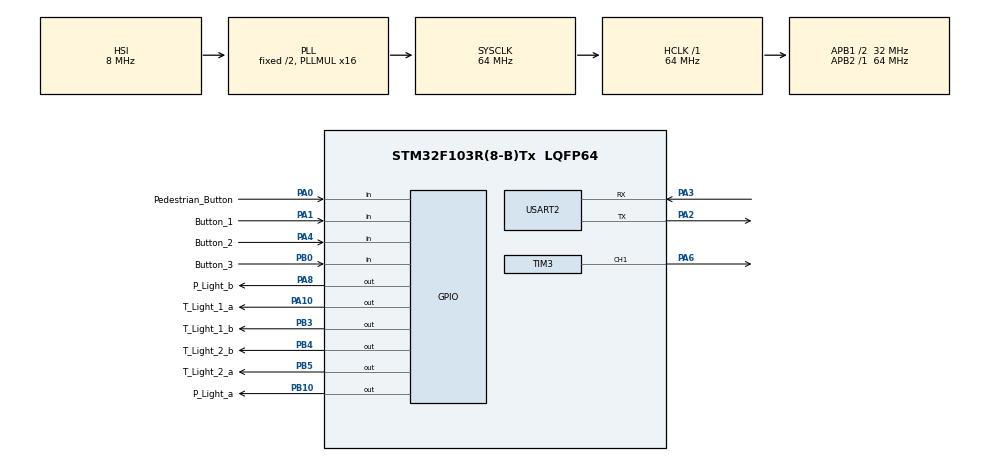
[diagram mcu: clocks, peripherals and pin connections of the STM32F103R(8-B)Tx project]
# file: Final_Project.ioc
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Mcu.Family=STM32F1
Mcu.Name=STM32F103R(8-B)Tx
Mcu.Package=LQFP64
NVIC.PriorityGroup=NVIC_PRIORITYGROUP_4
NVIC.TIM2_IRQn=true\:0\:0\:false\:false\:true\:true\:true\:true
NVIC.TIM3_IRQn=true\:0\:0\:false\:false\:true\:true\:true\:true
NVIC.USART2_IRQn=true\:0\:0\:false\:false\:true\:true\:true\:true
PA0-WKUP.GPIO_Label=Pedestrian_Button
PA0-WKUP.GPIO_PuPd=GPIO_PULLUP
PA0-WKUP.Signal=GPIO_Input
PA1.GPIO_Label=Button_1
PA1.GPIO_PuPd=GPIO_PULLUP
PA1.Signal=GPIO_Input
PA10.GPIO_Label=T_Light_1_a
PA10.Signal=GPIO_Output
PA13.Mode=Serial_Wire
PA13.Signal=SYS_JTMS-SWDIO
PA14.Mode=Serial_Wire
PA14.Signal=SYS_JTCK-SWCLK
PA2.Mode=Asynchronous
PA2.Signal=USART2_TX
PA3.Mode=Asynchronous
PA3.Signal=USART2_RX
PA4.GPIO_Label=Button_2
PA4.GPIO_PuPd=GPIO_PULLUP
PA4.Signal=GPIO_Input
PA6.Signal=S_TIM3_CH1
PA8.GPIO_Label=P_Light_b
PA8.Signal=GPIO_Output
PB0.GPIO_Label=Button_3
PB0.GPIO_PuPd=GPIO_PULLUP
PB0.Signal=GPIO_Input
PB10.GPIO_Label=P_Light_a
PB10.Signal=GPIO_Output
PB3.GPIO_Label=T_Light_1_b
PB3.Signal=GPIO_Output
PB4.GPIO_Label=T_Light_2_b
PB4.Signal=GPIO_Output
PB5.GPIO_Label=T_Light_2_a
PB5.Signal=GPIO_Output
ProjectManager.HeapSize=0x200
ProjectManager.StackSize=0x400
ProjectManager.TargetToolchain=STM32CubeIDE
RCC.AHBFreq_Value=64000000
RCC.APB1CLKDivider=RCC_HCLK_DIV2
RCC.APB1Freq_Value=32000000
RCC.APB1TimFreq_Value=64000000
RCC.APB2Freq_Value=64000000
RCC.APB2TimFreq_Value=64000000
RCC.HCLKFreq_Value=64000000
RCC.PLLMUL=RCC_PLL_MUL16
RCC.SYSCLKFreq_VALUE=64000000
RCC.SYSCLKSource=RCC_SYSCLKSOURCE_PLLCLK
RCC.USBFreq_Value=64000000
SH.S_TIM3_CH1.0=TIM3_CH1,PWM Generation1 CH1
TIM2.Period=63
TIM2.Prescaler=9999
TIM3.Channel-PWM\ Generation1\ CH1=TIM_CHANNEL_1
TIM3.Period=63
TIM3.Prescaler=999
USART2.VirtualMode=VM_ASYNC
VP_TIM2_VS_ClockSourceINT.Mode=Internal
VP_TIM3_VS_ClockSourceINT.Mode=Internal
board=custom

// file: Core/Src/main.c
/* USER CODE BEGIN Header */
/**
  ******************************************************************************
  * @file           : main.c
  * @brief          : Main program body
  ******************************************************************************
  * @attention
  *
  * Copyright (c) 2022 STMicroelectronics.
  * All rights reserved.
  *
  * This software is licensed under terms that can be found in the LICENSE file
  * in the root directory of this software component.
  * If no LICENSE file comes with this software, it is provided AS-IS.
  *
  ******************************************************************************
  */
/* USER CODE END Header */
#include "main.h"

/* USER CODE BEGIN Includes */
#include <stdio.h>
#include "software_timer.h"
#include "scheduler.h"
#include "input_reading.h"
#include "fsm.h"
#include "global.h"
/* USER CODE END Includes */

TIM_HandleTypeDef htim2;
TIM_HandleTypeDef htim3;

UART_HandleTypeDef huart2;

void SystemClock_Config(void);
static void MX_GPIO_Init(void);
static void MX_TIM2_Init(void);
static void MX_TIM3_Init(void);
static void MX_USART2_UART_Init(void);
/* USER CODE BEGIN PFP */

void UART_Buffer_Transmit(void);
void Buzzer_PWM_Control(void);

/* USER CODE END PFP */

int main(void)
{

  /* MCU Configuration--------------------------------------------------------*/

  /* Reset of all peripherals, Initializes the Flash interface and the Systick. */
  HAL_Init();

  /* Configure the system clock */
  SystemClock_Config();

  /* Initialize all configured peripherals */
  MX_GPIO_Init();
  MX_TIM2_Init();
  MX_TIM3_Init();
  MX_USART2_UART_Init();
  /* USER CODE BEGIN 2 */
  HAL_TIM_Base_Start_IT(&htim2);						//timer2		clock 10ms
  HAL_TIM_PWM_Start(&htim3, TIM_CHANNEL_1); 			//pwm 			clock 1ms
  SCH_Init();
  SCH_Add_Task(RunSoftwareTimer, 10, 1);				//10ms
  SCH_Add_Task(button_reading, 10, 1);					//10ms
  SCH_Add_Task(fsm_for_input_processing, 10, 1);		//10ms
  SCH_Add_Task(UART_Buffer_Transmit, 0, 50);			//500ms
  SCH_Add_Task(Buzzer_PWM_Control, 0, 1);				//10ms
  /* USER CODE END 2 */

  /* Infinite loop */
  /* USER CODE BEGIN WHILE */
  while (1)
  {
	  SCH_Dispatch_Tasks();

    /* USER CODE END WHILE */

  }
}

void SystemClock_Config(void)
{
  RCC_OscInitTypeDef RCC_OscInitStruct = {0};
  RCC_ClkInitTypeDef RCC_ClkInitStruct = {0};

  /** Initializes the RCC Oscillators according to the specified parameters
  * in the RCC_OscInitTypeDef structure.
  */
  RCC_OscInitStruct.OscillatorType = RCC_OSCILLATORTYPE_HSI;
  RCC_OscInitStruct.HSIState = RCC_HSI_ON;
  RCC_OscInitStruct.HSICalibrationValue = RCC_HSICALIBRATION_DEFAULT;
  RCC_OscInitStruct.PLL.PLLState = RCC_PLL_ON;
  RCC_OscInitStruct.PLL.PLLSource = RCC_PLLSOURCE_HSI_DIV2;
  RCC_OscInitStruct.PLL.PLLMUL = RCC_PLL_MUL16;
  if (HAL_RCC_OscConfig(&RCC_OscInitStruct) != HAL_OK)
  {
    Error_Handler();
  }

  /** Initializes the CPU, AHB and APB buses clocks
  */
  RCC_ClkInitStruct.ClockType = RCC_CLOCKTYPE_HCLK|RCC_CLOCKTYPE_SYSCLK
                              |RCC_CLOCKTYPE_PCLK1|RCC_CLOCKTYPE_PCLK2;
  RCC_ClkInitStruct.SYSCLKSource = RCC_SYSCLKSOURCE_PLLCLK;
  RCC_ClkInitStruct.AHBCLKDivider = RCC_SYSCLK_DIV1;
  RCC_ClkInitStruct.APB1CLKDivider = RCC_HCLK_DIV2;
  RCC_ClkInitStruct.APB2CLKDivider = RCC_HCLK_DIV1;

  if (HAL_RCC_ClockConfig(&RCC_ClkInitStruct, FLASH_LATENCY_2) != HAL_OK)
  {
    Error_Handler();
  }
}

static void MX_TIM2_Init(void)
{

  TIM_ClockConfigTypeDef sClockSourceConfig = {0};
  TIM_MasterConfigTypeDef sMasterConfig = {0};

  htim2.Instance = TIM2;
  htim2.Init.Prescaler = 9999;
  htim2.Init.CounterMode = TIM_COUNTERMODE_UP;
  htim2.Init.Period = 63;
  htim2.Init.ClockDivision = TIM_CLOCKDIVISION_DIV1;
  htim2.Init.AutoReloadPreload = TIM_AUTORELOAD_PRELOAD_DISABLE;
  if (HAL_TIM_Base_Init(&htim2) != HAL_OK)
  {
    Error_Handler();
  }
  sClockSourceConfig.ClockSource = TIM_CLOCKSOURCE_INTERNAL;
  if (HAL_TIM_ConfigClockSource(&htim2, &sClockSourceConfig) != HAL_OK)
  {
    Error_Handler();
  }
  sMasterConfig.MasterOutputTrigger = TIM_TRGO_RESET;
  sMasterConfig.MasterSlaveMode = TIM_MASTERSLAVEMODE_DISABLE;
  if (HAL_TIMEx_MasterConfigSynchronization(&htim2, &sMasterConfig) != HAL_OK)
  {
    Error_Handler();
  }

}

static void MX_TIM3_Init(void)
{

  TIM_ClockConfigTypeDef sClockSourceConfig = {0};
  TIM_MasterConfigTypeDef sMasterConfig = {0};
  TIM_OC_InitTypeDef sConfigOC = {0};

  htim3.Instance = TIM3;
  htim3.Init.Prescaler = 999;
  htim3.Init.CounterMode = TIM_COUNTERMODE_UP;
  htim3.Init.Period = 63;
  htim3.Init.ClockDivision = TIM_CLOCKDIVISION_DIV1;
  htim3.Init.AutoReloadPreload = TIM_AUTORELOAD_PRELOAD_DISABLE;
  if (HAL_TIM_Base_Init(&htim3) != HAL_OK)
  {
    Error_Handler();
  }
  sClockSourceConfig.ClockSource = TIM_CLOCKSOURCE_INTERNAL;
  if (HAL_TIM_ConfigClockSource(&htim3, &sClockSourceConfig) != HAL_OK)
  {
    Error_Handler();
  }
  if (HAL_TIM_PWM_Init(&htim3) != HAL_OK)
  {
    Error_Handler();
  }
  sMasterConfig.MasterOutputTrigger = TIM_TRGO_RESET;
  sMasterConfig.MasterSlaveMode = TIM_MASTERSLAVEMODE_DISABLE;
  if (HAL_TIMEx_MasterConfigSynchronization(&htim3, &sMasterConfig) != HAL_OK)
  {
    Error_Handler();
  }
  sConfigOC.OCMode = TIM_OCMODE_PWM1;
  sConfigOC.Pulse = 0;
  sConfigOC.OCPolarity = TIM_OCPOLARITY_HIGH;
  sConfigOC.OCFastMode = TIM_OCFAST_DISABLE;
  if (HAL_TIM_PWM_ConfigChannel(&htim3, &sConfigOC, TIM_CHANNEL_1) != HAL_OK)
  {
    Error_Handler();
  }
  HAL_TIM_MspPostInit(&htim3);

}

static void MX_USART2_UART_Init(void)
{

  huart2.Instance = USART2;
  huart2.Init.BaudRate = 115200;
  huart2.Init.WordLength = UART_WORDLENGTH_8B;
  huart2.Init.StopBits = UART_STOPBITS_1;
  huart2.Init.Parity = UART_PARITY_NONE;
  huart2.Init.Mode = UART_MODE_TX_RX;
  huart2.Init.HwFlowCtl = UART_HWCONTROL_NONE;
  huart2.Init.OverSampling = UART_OVERSAMPLING_16;
  if (HAL_UART_Init(&huart2) != HAL_OK)
  {
    Error_Handler();
  }

}

static void MX_GPIO_Init(void)
{
  GPIO_InitTypeDef GPIO_InitStruct = {0};

  /* GPIO Ports Clock Enable */
  __HAL_RCC_GPIOA_CLK_ENABLE();
  __HAL_RCC_GPIOB_CLK_ENABLE();

  /*Configure GPIO pin Output Level */
  HAL_GPIO_WritePin(GPIOB, P_Light_a_Pin|T_Light_1_b_Pin|T_Light_2_b_Pin|T_Light_2_a_Pin, GPIO_PIN_RESET);

  /*Configure GPIO pin Output Level */
  HAL_GPIO_WritePin(GPIOA, P_Light_b_Pin|T_Light_1_a_Pin, GPIO_PIN_RESET);

  /*Configure GPIO pins : Pedestrian_Button_Pin Button_1_Pin Button_2_Pin */
  GPIO_InitStruct.Pin = Pedestrian_Button_Pin|Button_1_Pin|Button_2_Pin;
  GPIO_InitStruct.Mode = GPIO_MODE_INPUT;
  GPIO_InitStruct.Pull = GPIO_PULLUP;
  HAL_GPIO_Init(GPIOA, &GPIO_InitStruct);

  /*Configure GPIO pin : Button_3_Pin */
  GPIO_InitStruct.Pin = Button_3_Pin;
  GPIO_InitStruct.Mode = GPIO_MODE_INPUT;
  GPIO_InitStruct.Pull = GPIO_PULLUP;
  HAL_GPIO_Init(Button_3_GPIO_Port, &GPIO_InitStruct);

  /*Configure GPIO pins : P_Light_a_Pin T_Light_1_b_Pin T_Light_2_b_Pin T_Light_2_a_Pin */
  GPIO_InitStruct.Pin = P_Light_a_Pin|T_Light_1_b_Pin|T_Light_2_b_Pin|T_Light_2_a_Pin;
  GPIO_InitStruct.Mode = GPIO_MODE_OUTPUT_PP;
  GPIO_InitStruct.Pull = GPIO_NOPULL;
  GPIO_InitStruct.Speed = GPIO_SPEED_FREQ_LOW;
  HAL_GPIO_Init(GPIOB, &GPIO_InitStruct);

  /*Configure GPIO pins : P_Light_b_Pin T_Light_1_a_Pin */
  GPIO_InitStruct.Pin = P_Light_b_Pin|T_Light_1_a_Pin;
  GPIO_InitStruct.Mode = GPIO_MODE_OUTPUT_PP;
  GPIO_InitStruct.Pull = GPIO_NOPULL;
  GPIO_InitStruct.Speed = GPIO_SPEED_FREQ_LOW;
  HAL_GPIO_Init(GPIOA, &GPIO_InitStruct);

}

/* USER CODE BEGIN 4 */
uint8_t str[50];

void UART_Buffer_Transmit(void){
	HAL_UART_Transmit(&huart2, str, sprintf(str, "!time1: %d#", UART_BUFFER[0]), 1000);
	HAL_UART_Transmit(&huart2, str, sprintf(str, "!time2: %d#\n\r", UART_BUFFER[1]), 1000);

}

void Buzzer_PWM_Control(void){
	__HAL_TIM_SetCompare(&htim3, TIM_CHANNEL_1, BUZZER_VOLUME);
}

/* USER CODE END 4 */

void Error_Handler(void)
{
  __disable_irq();
  while (1)
  {
  }
}
